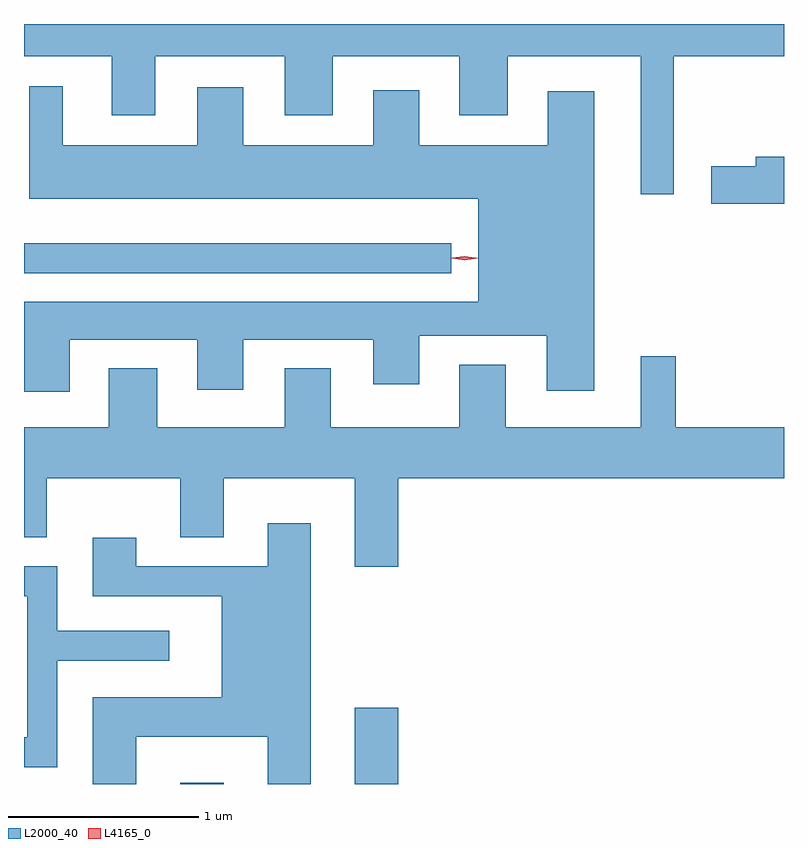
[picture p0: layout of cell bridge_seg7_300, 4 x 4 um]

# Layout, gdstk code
import gdstk
lib = gdstk.Library(unit=1e-6, precision=1e-09)
def R(c, l, rs):  # rectangles x0, y0, x1, y1
    for r in rs: c.add(gdstk.rectangle(r[:2], r[2:], *l))
def P(c, l, *ps):  # polygons
    for p in ps: c.add(gdstk.Polygon(p, *l))
L2000_40 = (2000, 40)
L4165_0 = (4165, 0)

bridge_seg7_300 = lib.new_cell('bridge_seg7_300')
R(bridge_seg7_300, L2000_40, [(1417.191,1754.887,1417.419,1754.894), (1418.111,1754.887,1418.339,1755.289), (1416.369,1757.576,1418.618,1757.734)])
P(bridge_seg7_300, L2000_40, [(1419.789,1758.716),(1420.369,1758.716),(1420.369,1758.887),(1416.369,1758.887),(1416.369,1758.716),(1416.831,1758.716),(1416.831,1758.406),(1417.059,1758.406),(1417.059,1758.716),(1417.741,1758.716),(1417.741,1758.406),(1417.994,1758.406),(1417.994,1758.716),(1418.661,1758.716),(1418.661,1758.406),(1418.914,1758.406),(1418.914,1758.716),(1419.616,1758.716),(1419.616,1757.991),(1419.789,1757.991)],
  [(1416.609,1757.226),(1417.281,1757.226),(1417.281,1756.961),(1417.524,1756.961),(1417.524,1757.226),(1418.206,1757.226),(1418.206,1756.991),(1418.449,1756.991),(1418.449,1757.246),(1419.121,1757.246),(1419.121,1756.956),(1419.369,1756.956),(1419.369,1758.534),(1419.126,1758.534),(1419.126,1758.249),(1418.449,1758.249),(1418.449,1758.539),(1418.206,1758.539),(1418.206,1758.249),(1417.524,1758.249),(1417.524,1758.554),(1417.281,1758.554),(1417.281,1758.249),(1416.574,1758.249),(1416.574,1758.559),(1416.396,1758.559),(1416.396,1757.966),(1418.761,1757.966),(1418.761,1757.424),(1416.369,1757.424),(1416.369,1756.951),(1416.609,1756.951)],
  [(1420.369,1758.189),(1420.221,1758.189),(1420.221,1758.139),(1419.986,1758.139),(1419.986,1757.941),(1420.369,1757.941)],
  [(1416.369,1756.186),(1416.489,1756.186),(1416.489,1756.496),(1417.191,1756.496),(1417.191,1756.186),(1417.419,1756.186),(1417.419,1756.496),(1418.111,1756.496),(1418.111,1756.031),(1418.339,1756.031),(1418.339,1756.496),(1420.369,1756.496),(1420.369,1756.764),(1419.799,1756.764),(1419.799,1757.139),(1419.616,1757.139),(1419.616,1756.764),(1418.904,1756.764),(1418.904,1757.094),(1418.661,1757.094),(1418.661,1756.764),(1417.984,1756.764),(1417.984,1757.074),(1417.741,1757.074),(1417.741,1756.764),(1417.069,1756.764),(1417.069,1757.074),(1416.816,1757.074),(1416.816,1756.764),(1416.369,1756.764)],
  [(1416.959,1755.136),(1417.651,1755.136),(1417.651,1754.887),(1417.879,1754.887),(1417.879,1756.259),(1417.651,1756.259),(1417.651,1756.034),(1416.959,1756.034),(1416.959,1756.184),(1416.731,1756.184),(1416.731,1755.876),(1417.411,1755.876),(1417.411,1755.344),(1416.731,1755.344),(1416.731,1754.887),(1416.959,1754.887)],
  [(1416.544,1755.536),(1417.133,1755.536),(1417.133,1755.694),(1416.544,1755.694),(1416.544,1756.034),(1416.369,1756.034),(1416.369,1755.876),(1416.386,1755.876),(1416.386,1755.134),(1416.369,1755.134),(1416.369,1754.976),(1416.544,1754.976)])
P(bridge_seg7_300, L4165_0, [(1418.686,1757.646),(1418.623,1757.655),(1418.623,1757.655),(1418.623,1757.656),(1418.685,1757.665),(1418.747,1757.656),(1418.748,1757.656),(1418.747,1757.655)],
  [(1418.688,1757.644),(1418.62,1757.654),(1418.619,1757.655),(1418.62,1757.655),(1418.689,1757.664),(1418.757,1757.655),(1418.758,1757.654),(1418.757,1757.654)])

lib.write_gds('bridge_seg7_300.gds')
